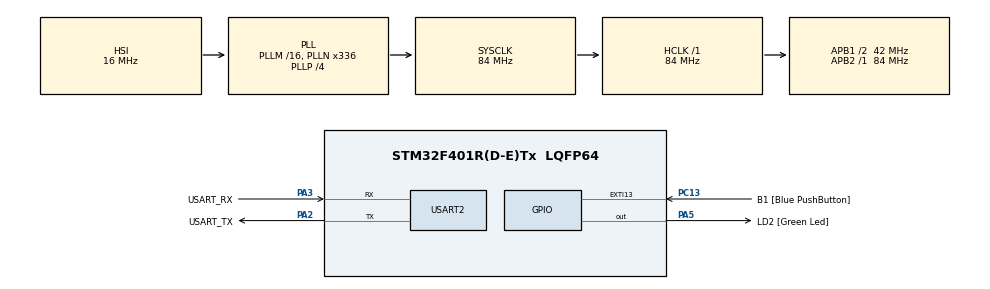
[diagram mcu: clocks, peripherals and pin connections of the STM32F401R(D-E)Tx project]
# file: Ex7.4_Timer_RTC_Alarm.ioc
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Mcu.Family=STM32F4
Mcu.Name=STM32F401R(D-E)Tx
Mcu.Package=LQFP64
NVIC.PriorityGroup=NVIC_PRIORITYGROUP_4
NVIC.RTC_Alarm_IRQn=true\:0\:0\:false\:false\:true\:true\:true\:true
PA13.GPIO_Label=TMS
PA13.Mode=Trace_Asynchronous_SW
PA13.Signal=SYS_JTMS-SWDIO
PA14.GPIO_Label=TCK
PA14.Mode=Trace_Asynchronous_SW
PA14.Signal=SYS_JTCK-SWCLK
PA2.GPIO_Label=USART_TX
PA2.GPIO_Mode=GPIO_MODE_AF_PP
PA2.GPIO_PuPd=GPIO_NOPULL
PA2.GPIO_Speed=GPIO_SPEED_FREQ_LOW
PA2.Mode=Asynchronous
PA2.Signal=USART2_TX
PA3.GPIO_Label=USART_RX
PA3.GPIO_Mode=GPIO_MODE_AF_PP
PA3.GPIO_PuPd=GPIO_NOPULL
PA3.GPIO_Speed=GPIO_SPEED_FREQ_LOW
PA3.Mode=Asynchronous
PA3.Signal=USART2_RX
PA5.GPIO_Label=LD2 [Green Led]
PA5.GPIO_Mode=GPIO_MODE_OUTPUT_PP
PA5.GPIO_PuPd=GPIO_NOPULL
PA5.GPIO_Speed=GPIO_SPEED_FREQ_LOW
PA5.Signal=GPIO_Output
PB3.GPIO_Label=SWO
PB3.Mode=Trace_Asynchronous_SW
PB3.Signal=SYS_JTDO-SWO
PC13-ANTI_TAMP.GPIO_Label=B1 [Blue PushButton]
PC13-ANTI_TAMP.GPIO_ModeDefaultEXTI=GPIO_MODE_IT_FALLING
PC13-ANTI_TAMP.GPIO_PuPd=GPIO_NOPULL
PC13-ANTI_TAMP.Signal=GPXTI13
PC14-OSC32_IN.Mode=LSE-External-Oscillator
PC14-OSC32_IN.Signal=RCC_OSC32_IN
PC15-OSC32_OUT.Mode=LSE-External-Oscillator
PC15-OSC32_OUT.Signal=RCC_OSC32_OUT
PH0\ -\ OSC_IN.Mode=HSE-External-Oscillator
PH0\ -\ OSC_IN.Signal=RCC_OSC_IN
PH1\ -\ OSC_OUT.Mode=HSE-External-Oscillator
PH1\ -\ OSC_OUT.Signal=RCC_OSC_OUT
ProjectManager.HeapSize=0x200
ProjectManager.StackSize=0x400
ProjectManager.TargetToolchain=STM32CubeIDE
RCC.48MHZClocksFreq_Value=48000000
RCC.AHBFreq_Value=84000000
RCC.APB1CLKDivider=RCC_HCLK_DIV2
RCC.APB1Freq_Value=42000000
RCC.APB1TimFreq_Value=84000000
RCC.APB2Freq_Value=84000000
RCC.APB2TimFreq_Value=84000000
RCC.CortexFreq_Value=84000000
RCC.HCLKFreq_Value=84000000
RCC.HSE_VALUE=8000000
RCC.HSI_VALUE=16000000
RCC.PLLN=336
RCC.PLLP=RCC_PLLP_DIV4
RCC.PLLQ=7
RCC.SYSCLKFreq_VALUE=84000000
RCC.SYSCLKSource=RCC_SYSCLKSOURCE_PLLCLK
RCC.VCOOutputFreq_Value=336000000
RTC.Alarm=RTC_ALARM_A
RTC.AlarmMaskDateWeekDay=RTC_ALARMMASK_DATEWEEKDAY
RTC.AlarmMaskHours=RTC_ALARMMASK_HOURS
RTC.AlarmMaskMinutes=RTC_ALARMMASK_MINUTES
RTC.Date=6
RTC.Hours=15
RTC.Hours_A=16
RTC.Minutes=59
RTC.Minutes_A=0
RTC.Seconds=30
RTC.Year=26
USART2.VirtualMode=VM_ASYNC
VP_RTC_VS_RTC_Activate.Mode=RTC_Enabled
VP_RTC_VS_RTC_Alarm_A_Intern.Mode=Alarm A
VP_RTC_VS_RTC_Calendar.Mode=RTC_Calendar
board=NUCLEO-F401RE

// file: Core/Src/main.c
/* USER CODE BEGIN Header */
/**
  ******************************************************************************
  * @file           : main.c
  * @brief          : Main program body
  ******************************************************************************
  * @attention
  *
  * Copyright (c) 2026 STMicroelectronics.
  * All rights reserved.
  *
  * This software is licensed under terms that can be found in the LICENSE file
  * in the root directory of this software component.
  * If no LICENSE file comes with this software, it is provided AS-IS.
  *
  ******************************************************************************
  */
/* USER CODE END Header */
#include "main.h"

/* USER CODE BEGIN Includes */
#include <stdio.h>
/* USER CODE END Includes */

RTC_HandleTypeDef hrtc;

UART_HandleTypeDef huart2;

void SystemClock_Config(void);
static void MX_GPIO_Init(void);
static void MX_USART2_UART_Init(void);
static void MX_RTC_Init(void);

/* USER CODE BEGIN 0 */
int __io_putchar(int ch)
{
	HAL_UART_Transmit(&huart2, (uint8_t *)&ch, 1, 0xFFFF);
	return ch;
}

uint8_t Alarm_count=0;
void HAL_RTC_AlarmAEventCallback(RTC_HandleTypeDef *hrtc)
{
	Alarm_count++;
	printf("Alarm count=%d \r\n", Alarm_count);
}
/* USER CODE END 0 */

int main(void)
{

  /* MCU Configuration--------------------------------------------------------*/

  /* Reset of all peripherals, Initializes the Flash interface and the Systick. */
  HAL_Init();

  /* Configure the system clock */
  SystemClock_Config();

  /* Initialize all configured peripherals */
  MX_GPIO_Init();
  MX_USART2_UART_Init();
  MX_RTC_Init();
  /* USER CODE BEGIN 2 */

  RTC_TimeTypeDef sTime;
  RTC_DateTypeDef sDate;
  RTC_TimeTypeDef sAlarm;
  /* USER CODE END 2 */

  /* Infinite loop */
  /* USER CODE BEGIN WHILE */

  while (1)
  {
	  HAL_RTC_GetTime(&hrtc, &sTime, RTC_FORMAT_BIN);
	  HAL_RTC_GetDate(&hrtc, &sDate, RTC_FORMAT_BIN);
	  HAL_RTC_GetAlarm(&hrtc, &sAlarm, RTC_ALARM_A, RTC_FORMAT_BIN);

	  printf("date=%d %d %d %d, time=%d %d %d \r\n", sDate.Year, sDate.Month, sDate.WeekDay, sDate.Date, sTime.Hours, sTime.Minutes, sTime.Seconds);
	  HAL_Delay(1000);
    /* USER CODE END WHILE */

  }
}

void SystemClock_Config(void)
{
  RCC_OscInitTypeDef RCC_OscInitStruct = {0};
  RCC_ClkInitTypeDef RCC_ClkInitStruct = {0};

  /** Configure the main internal regulator output voltage
  */
  __HAL_RCC_PWR_CLK_ENABLE();
  __HAL_PWR_VOLTAGESCALING_CONFIG(PWR_REGULATOR_VOLTAGE_SCALE2);

  /** Initializes the RCC Oscillators according to the specified parameters
  * in the RCC_OscInitTypeDef structure.
  */
  RCC_OscInitStruct.OscillatorType = RCC_OSCILLATORTYPE_HSI|RCC_OSCILLATORTYPE_LSI;
  RCC_OscInitStruct.HSIState = RCC_HSI_ON;
  RCC_OscInitStruct.HSICalibrationValue = RCC_HSICALIBRATION_DEFAULT;
  RCC_OscInitStruct.LSIState = RCC_LSI_ON;
  RCC_OscInitStruct.PLL.PLLState = RCC_PLL_ON;
  RCC_OscInitStruct.PLL.PLLSource = RCC_PLLSOURCE_HSI;
  RCC_OscInitStruct.PLL.PLLM = 16;
  RCC_OscInitStruct.PLL.PLLN = 336;
  RCC_OscInitStruct.PLL.PLLP = RCC_PLLP_DIV4;
  RCC_OscInitStruct.PLL.PLLQ = 7;
  if (HAL_RCC_OscConfig(&RCC_OscInitStruct) != HAL_OK)
  {
    Error_Handler();
  }

  /** Initializes the CPU, AHB and APB buses clocks
  */
  RCC_ClkInitStruct.ClockType = RCC_CLOCKTYPE_HCLK|RCC_CLOCKTYPE_SYSCLK
                              |RCC_CLOCKTYPE_PCLK1|RCC_CLOCKTYPE_PCLK2;
  RCC_ClkInitStruct.SYSCLKSource = RCC_SYSCLKSOURCE_PLLCLK;
  RCC_ClkInitStruct.AHBCLKDivider = RCC_SYSCLK_DIV1;
  RCC_ClkInitStruct.APB1CLKDivider = RCC_HCLK_DIV2;
  RCC_ClkInitStruct.APB2CLKDivider = RCC_HCLK_DIV1;

  if (HAL_RCC_ClockConfig(&RCC_ClkInitStruct, FLASH_LATENCY_2) != HAL_OK)
  {
    Error_Handler();
  }
}

static void MX_RTC_Init(void)
{

  RTC_TimeTypeDef sTime = {0};
  RTC_DateTypeDef sDate = {0};
  RTC_AlarmTypeDef sAlarm = {0};

  /** Initialize RTC Only
  */
  hrtc.Instance = RTC;
  hrtc.Init.HourFormat = RTC_HOURFORMAT_24;
  hrtc.Init.AsynchPrediv = 127;
  hrtc.Init.SynchPrediv = 255;
  hrtc.Init.OutPut = RTC_OUTPUT_DISABLE;
  hrtc.Init.OutPutPolarity = RTC_OUTPUT_POLARITY_HIGH;
  hrtc.Init.OutPutType = RTC_OUTPUT_TYPE_OPENDRAIN;
  if (HAL_RTC_Init(&hrtc) != HAL_OK)
  {
    Error_Handler();
  }

  /** Initialize RTC and set the Time and Date
  */
  sTime.Hours = 0x15;
  sTime.Minutes = 0x59;
  sTime.Seconds = 0x30;
  sTime.DayLightSaving = RTC_DAYLIGHTSAVING_NONE;
  sTime.StoreOperation = RTC_STOREOPERATION_RESET;
  if (HAL_RTC_SetTime(&hrtc, &sTime, RTC_FORMAT_BCD) != HAL_OK)
  {
    Error_Handler();
  }
  sDate.WeekDay = RTC_WEEKDAY_MONDAY;
  sDate.Month = RTC_MONTH_JANUARY;
  sDate.Date = 0x6;
  sDate.Year = 0x26;

  if (HAL_RTC_SetDate(&hrtc, &sDate, RTC_FORMAT_BCD) != HAL_OK)
  {
    Error_Handler();
  }

  /** Enable the Alarm A
  */
  sAlarm.AlarmTime.Hours = 0x16;
  sAlarm.AlarmTime.Minutes = 0x0;
  sAlarm.AlarmTime.Seconds = 0x0;
  sAlarm.AlarmTime.SubSeconds = 0x0;
  sAlarm.AlarmTime.DayLightSaving = RTC_DAYLIGHTSAVING_NONE;
  sAlarm.AlarmTime.StoreOperation = RTC_STOREOPERATION_RESET;
  sAlarm.AlarmMask = RTC_ALARMMASK_DATEWEEKDAY|RTC_ALARMMASK_HOURS
                              |RTC_ALARMMASK_MINUTES;
  sAlarm.AlarmSubSecondMask = RTC_ALARMSUBSECONDMASK_ALL;
  sAlarm.AlarmDateWeekDaySel = RTC_ALARMDATEWEEKDAYSEL_DATE;
  sAlarm.AlarmDateWeekDay = 0x1;
  sAlarm.Alarm = RTC_ALARM_A;
  if (HAL_RTC_SetAlarm_IT(&hrtc, &sAlarm, RTC_FORMAT_BCD) != HAL_OK)
  {
    Error_Handler();
  }

}

static void MX_USART2_UART_Init(void)
{

  huart2.Instance = USART2;
  huart2.Init.BaudRate = 115200;
  huart2.Init.WordLength = UART_WORDLENGTH_8B;
  huart2.Init.StopBits = UART_STOPBITS_1;
  huart2.Init.Parity = UART_PARITY_NONE;
  huart2.Init.Mode = UART_MODE_TX_RX;
  huart2.Init.HwFlowCtl = UART_HWCONTROL_NONE;
  huart2.Init.OverSampling = UART_OVERSAMPLING_16;
  if (HAL_UART_Init(&huart2) != HAL_OK)
  {
    Error_Handler();
  }

}

static void MX_GPIO_Init(void)
{
  GPIO_InitTypeDef GPIO_InitStruct = {0};

  /* GPIO Ports Clock Enable */
  __HAL_RCC_GPIOC_CLK_ENABLE();
  __HAL_RCC_GPIOH_CLK_ENABLE();
  __HAL_RCC_GPIOA_CLK_ENABLE();
  __HAL_RCC_GPIOB_CLK_ENABLE();

  /*Configure GPIO pin Output Level */
  HAL_GPIO_WritePin(LD2_GPIO_Port, LD2_Pin, GPIO_PIN_RESET);

  /*Configure GPIO pin : B1_Pin */
  GPIO_InitStruct.Pin = B1_Pin;
  GPIO_InitStruct.Mode = GPIO_MODE_IT_FALLING;
  GPIO_InitStruct.Pull = GPIO_NOPULL;
  HAL_GPIO_Init(B1_GPIO_Port, &GPIO_InitStruct);

  /*Configure GPIO pin : LD2_Pin */
  GPIO_InitStruct.Pin = LD2_Pin;
  GPIO_InitStruct.Mode = GPIO_MODE_OUTPUT_PP;
  GPIO_InitStruct.Pull = GPIO_NOPULL;
  GPIO_InitStruct.Speed = GPIO_SPEED_FREQ_LOW;
  HAL_GPIO_Init(LD2_GPIO_Port, &GPIO_InitStruct);

}

void Error_Handler(void)
{
  __disable_irq();
  while (1)
  {
  }
}
